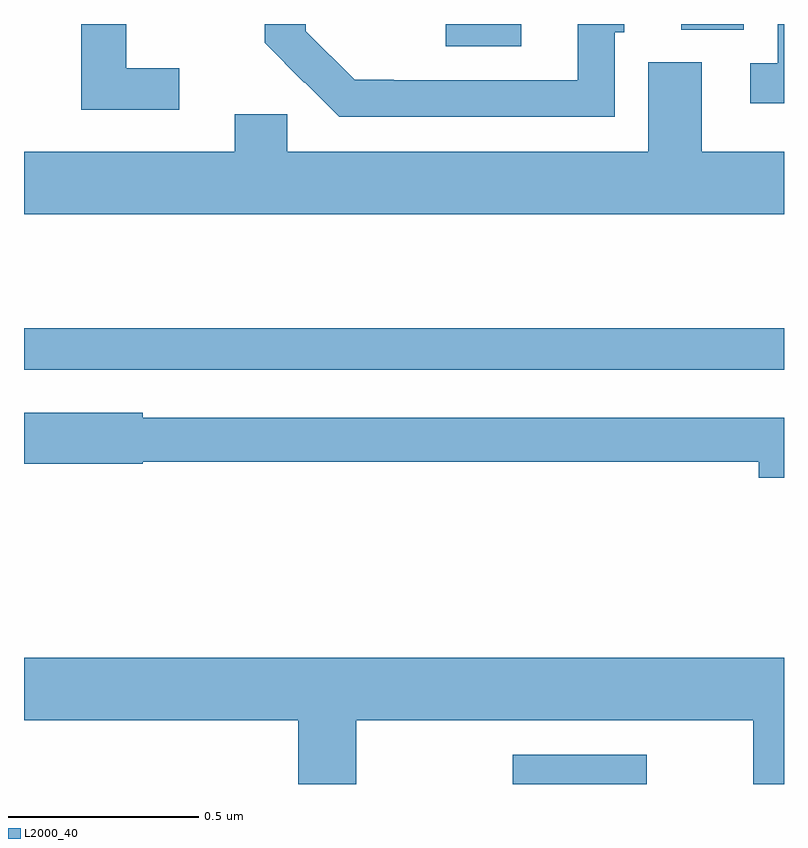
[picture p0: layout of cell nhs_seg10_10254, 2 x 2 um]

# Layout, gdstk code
import gdstk
lib = gdstk.Library(unit=1e-6, precision=1e-09)
def R(c, l, rs):  # rectangles x0, y0, x1, y1
    for r in rs: c.add(gdstk.rectangle(r[:2], r[2:], *l))
def P(c, l, *ps):  # polygons
    for p in ps: c.add(gdstk.Polygon(p, *l))
L2000_40 = (2000, 40)

nhs_seg10_10254 = lib.new_cell('nhs_seg10_10254')
R(nhs_seg10_10254, L2000_40, [(241.286,1281.5,241.639,1281.577), (240,1282.59,242,1282.699), (241.11,1283.442,241.309,1283.5), (241.73,1283.485,241.894,1283.5)])
P(nhs_seg10_10254, L2000_40, [(241.554,1283.478),(241.579,1283.478),(241.579,1283.5),(241.457,1283.5),(241.457,1283.352),(240.973,1283.352),(240.973,1283.353),(240.87,1283.353),(240.741,1283.481),(240.741,1283.5),(240.633,1283.5),(240.633,1283.451),(240.738,1283.346),(240.739,1283.347),(240.83,1283.256),(241.554,1283.256)],
  [(240.409,1283.383),(240.269,1283.383),(240.269,1283.5),(240.151,1283.5),(240.151,1283.274),(240.409,1283.274)],
  [(242,1283.5),(241.983,1283.5),(241.983,1283.397),(241.911,1283.397),(241.911,1283.292),(242,1283.292)],
  [(242,1283.164),(241.783,1283.164),(241.783,1283.4),(241.643,1283.4),(241.643,1283.164),(240.693,1283.164),(240.693,1283.262),(240.554,1283.262),(240.554,1283.164),(240,1283.164),(240,1283),(242,1283)],
  [(242,1282.464),(240.312,1282.464),(240.312,1282.477),(240,1282.477),(240,1282.343),(240.312,1282.343),(240.312,1282.348),(241.934,1282.348),(241.934,1282.306),(242,1282.306)],
  [(240.874,1281.668),(241.919,1281.668),(241.919,1281.5),(242,1281.5),(242,1281.832),(240,1281.832),(240,1281.668),(240.722,1281.668),(240.722,1281.5),(240.874,1281.5)])

lib.write_gds('nhs_seg10_10254.gds')
